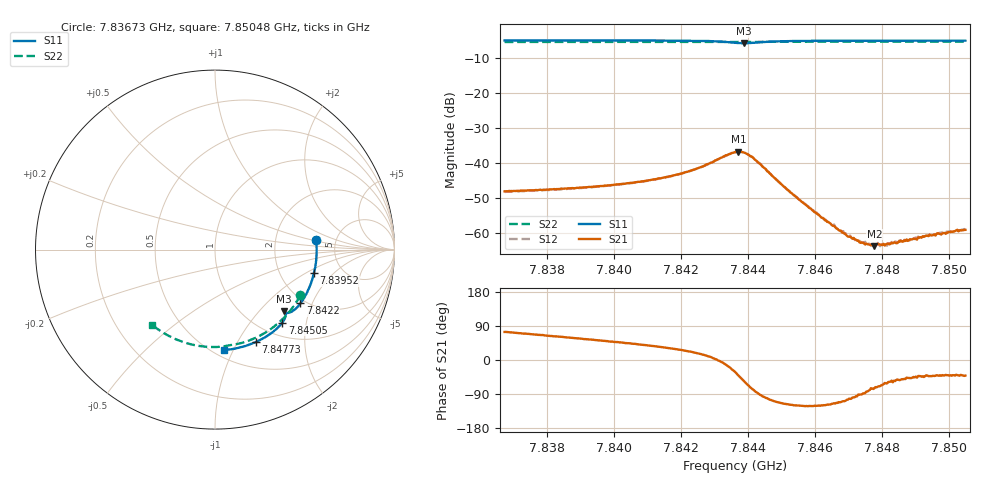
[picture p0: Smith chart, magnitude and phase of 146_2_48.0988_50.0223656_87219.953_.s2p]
#  HZ  S  RI  R  50.00
! Rohde & Schwarz Vector Network Analyzer
! Rohde-Schwarz,ZNB20-2Port,1311601062101988,3.16
! Created: UTC 12/23/2023, 3:49:17 AM
! freq[Hz]  re:S11  im:S11  re:S21  im:S21  re:S12  im:S12  re:S22  im:S22
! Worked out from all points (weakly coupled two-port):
!   401 points, 7.83673 GHz to 7.85048 GHz, reference 50 ohm
!   highest |S21| = -36.82 dB at 7.84371 GHz (marker M1); lowest = -63.8 dB at 7.84776 GHz (marker M2)
!   lowest |S11| = -5.7 dB at 7.84388 GHz (marker M3), VSWR 3.14, Z = 73.9 - j69.5 ohm
!   |S11| at or under -10 dB: nowhere
!   |S22| runs from -5.4 to -5.3 dB; largest |S21 - S12| = 0.00029
!   S11 on the Smith chart (normalised r, x): 7.83673 GHz: 3.51, +0.55; 7.83952 GHz: 3.11, -1.20; 7.8422 GHz: 1.88, -1.65; 7.84505 GHz: 1.25, -1.46; 7.84773 GHz: 0.79, -1.19; 7.85048 GHz: 0.56, -0.92
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7.836735e9  0.5635 0.0532  0.00108 0.00376  0.00107 0.00364  0.476 -0.254
7.839037e9  0.558 -0.0996  0.00246 0.00368  0.00245 0.0036  0.3806 -0.3834
7.839518e9  0.5515 -0.1312  0.00284 0.00365  0.00285 0.00361  0.356 -0.4065
7.840651e9  0.5284 -0.2043  0.00393 0.00355  0.00387 0.00352  0.2929 -0.4547
7.841339e9  0.5085 -0.2474  0.00492 0.00345  0.00484 0.00344  0.2513 -0.4792
7.842197e9  0.4764 -0.2996  0.00687 0.00297  0.00683 0.00301  0.1963 -0.5043
7.843091e9  0.4264 -0.3463  0.0112 -0.000139  0.0112 0.000147  0.1363 -0.5229
7.843606e9  0.3906 -0.3513  0.0122 -0.0074  0.0121 -0.00745  0.1018 -0.5294
7.843709e9  0.3869 -0.3484  0.0109 -0.00943  0.011 -0.00932  0.0952 -0.5305
7.843881e9  0.3859 -0.3445  0.00774 -0.0117  0.00786 -0.0115  0.0844 -0.5326
7.84419e9  0.3926 -0.3509  0.00169 -0.0111  0.00162 -0.0112  0.0645 -0.5364
7.845049e9  0.3756 -0.4063  -0.00197 -0.00419  -0.00195 -0.00424  0.00464 -0.5425
7.845908e9  0.3326 -0.4506  -0.0011 -0.0018  -0.00112 -0.00181  -0.0558 -0.5406
7.846698e9  0.2884 -0.4824  -0.00039 -0.00101  -0.000406 -0.00103  -0.111 -0.5327
7.846939e9  0.2744 -0.4909  -0.000238 -0.000881  -0.000245 -0.000905  -0.1275 -0.5292
7.847145e9  0.2621 -0.4978  -0.000124 -0.000832  -0.000143 -0.000801  -0.1416 -0.5256
7.847419e9  0.2456 -0.5064  1.88e-05 -0.000713  9.67e-06 -0.000731  -0.1599 -0.5204
7.847729e9  0.2268 -0.5152  0.000161 -0.00067  0.000145 -0.000632  -0.1807 -0.5138
7.847763e9  0.2248 -0.5162  0.000172 -0.000623  0.00016 -0.000646  -0.1831 -0.5131
7.84821e9  0.1969 -0.5275  0.000363 -0.000576  0.00037 -0.000603  -0.2124 -0.502
7.849756e9  0.0975 -0.5542  0.000706 -0.000626  0.000751 -0.000646  -0.3077 -0.4509
7.850477e9  0.0498 -0.5601  0.000827 -0.000721  0.000851 -0.000709  -0.3483 -0.4208
